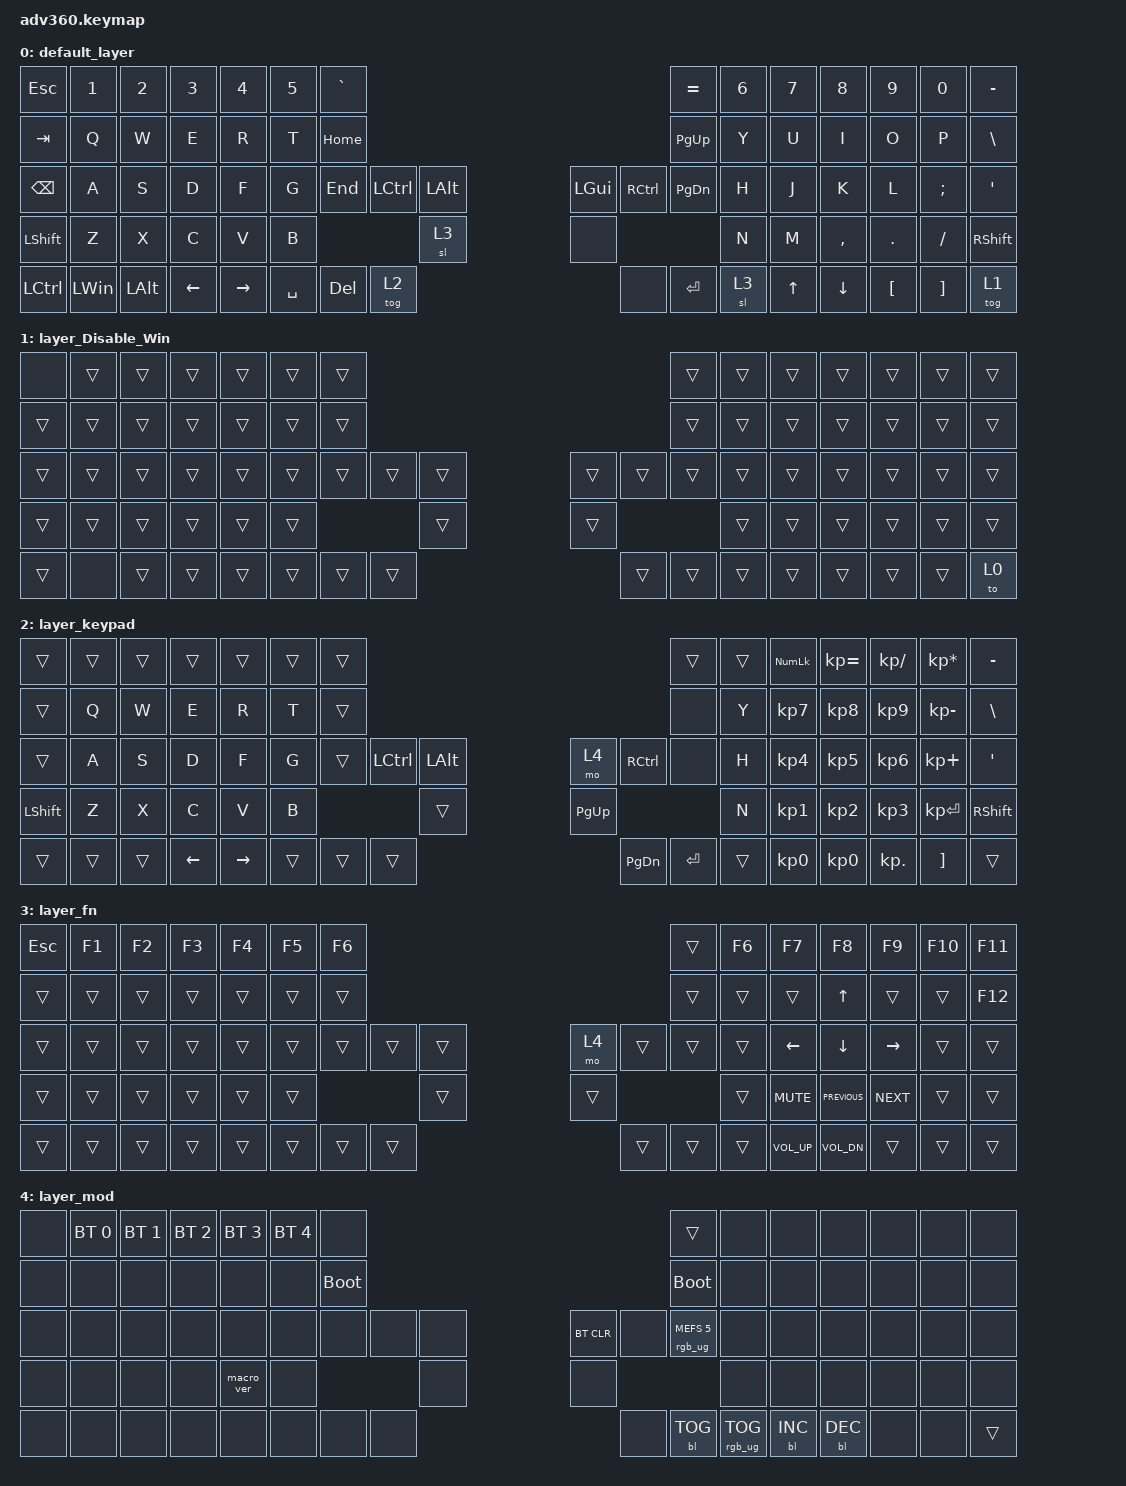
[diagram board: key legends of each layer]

/*
 * Copyright (c) 2020 The ZMK Contributors
 *
 * SPDX-License-Identifier: MIT
 */


/* THIS FILE WAS GENERATED!
 *
 * This file was generated automatically. You may or may not want to
 * edit it directly.
 */

#include <behaviors.dtsi>
#include <dt-bindings/zmk/keys.h>
#include <dt-bindings/zmk/bt.h>
#include <dt-bindings/zmk/rgb.h>
#include <dt-bindings/zmk/backlight.h>

/ {
  behaviors {
    #include "macros.dtsi"
    #include "version.dtsi"

    hm: homerow_mods {
        compatible = "zmk,behavior-hold-tap";
        label = "HOMEROW_MODS";
        #binding-cells = <2>;
        tapping-term-ms = <200>;
        quick_tap_ms = <175>;
        flavor = "tap-preferred";
        bindings = <&kp>, <&kp>;
    };
  };

    keymap {
        compatible = "zmk,keymap";


        default_layer {
            bindings = <
       &kp ESCAPE        &kp N1        &kp N2    &kp N3     &kp N4  &kp N5            &kp GRAVE                                                               &kp EQUAL  &kp N6  &kp N7     &kp N8    &kp N9    &kp N0  &kp MINUS
          &kp TAB         &kp Q         &kp W     &kp E      &kp R   &kp T             &kp HOME                                                             &kp PAGE_UP   &kp Y   &kp U      &kp I     &kp O     &kp P   &kp BSLH
    &kp BACKSPACE         &kp A         &kp S     &kp D      &kp F   &kp G              &kp END   &kp LCTRL  &kp LALT                  &kp LGUI  &kp RCTRL    &kp PG_DN   &kp H   &kp J      &kp K     &kp L  &kp SEMI    &kp SQT
        &kp LSHFT         &kp Z         &kp X     &kp C      &kp V   &kp B                                      &sl 3                     &none                           &kp N   &kp M  &kp COMMA   &kp DOT  &kp FSLH  &kp RSHFT
 &kp LEFT_CONTROL  &kp LEFT_WIN  &kp LEFT_ALT  &kp LEFT  &kp RIGHT                    &kp SPACE  &kp DELETE    &tog 2                     &none  &kp ENTER        &sl 3          &kp UP   &kp DOWN  &kp LBKT  &kp RBKT     &tog 1
            >;
        };

        layer_Disable_Win {
            bindings = <
  &none  &trans  &trans  &trans  &trans  &trans            &trans                                                  &trans  &trans  &trans  &trans  &trans  &trans  &trans
 &trans  &trans  &trans  &trans  &trans  &trans            &trans                                                  &trans  &trans  &trans  &trans  &trans  &trans  &trans
 &trans  &trans  &trans  &trans  &trans  &trans            &trans  &trans  &trans                  &trans  &trans  &trans  &trans  &trans  &trans  &trans  &trans  &trans
 &trans  &trans  &trans  &trans  &trans  &trans                            &trans                  &trans                  &trans  &trans  &trans  &trans  &trans  &trans
 &trans   &none  &trans  &trans  &trans                    &trans  &trans  &trans                  &trans  &trans  &trans          &trans  &trans  &trans  &trans   &to 0
            >;
        };

        layer_keypad {
            bindings = <
    &trans  &trans  &trans    &trans     &trans  &trans            &trans                                                             &trans  &trans       &kp KP_NUM  &kp KP_EQUAL  &kp KP_DIVIDE  &kp KP_MULTIPLY  &kp MINUS
    &trans   &kp Q   &kp W     &kp E      &kp R   &kp T            &trans                                                              &none   &kp Y        &kp KP_N7     &kp KP_N8      &kp KP_N9     &kp KP_MINUS   &kp BSLH
    &trans   &kp A   &kp S     &kp D      &kp F   &kp G            &trans  &kp LCTRL  &kp LALT                      &mo 4  &kp RCTRL   &none   &kp H        &kp KP_N4     &kp KP_N5      &kp KP_N6      &kp KP_PLUS    &kp SQT
 &kp LSHFT   &kp Z   &kp X     &kp C      &kp V   &kp B                                 &trans                  &kp PG_UP                      &kp N        &kp KP_N1     &kp KP_N2      &kp KP_N3     &kp KP_ENTER  &kp RSHFT
    &trans  &trans  &trans  &kp LEFT  &kp RIGHT                    &trans     &trans    &trans                  &kp PG_DN  &kp ENTER  &trans          &kp KP_NUMBER_0     &kp KP_N0     &kp KP_DOT         &kp RBKT     &trans
            >;
        };

        layer_fn {
            bindings = <
 &kp ESCAPE  &kp F1  &kp F2  &kp F3  &kp F4  &kp F5            &kp F6                                                  &trans  &kp F6        &kp F7          &kp F8      &kp F9  &kp F10  &kp F11
     &trans  &trans  &trans  &trans  &trans  &trans            &trans                                                  &trans  &trans        &trans    &kp UP_ARROW      &trans   &trans  &kp F12
     &trans  &trans  &trans  &trans  &trans  &trans            &trans  &trans  &trans                   &mo 4  &trans  &trans  &trans      &kp LEFT        &kp DOWN   &kp RIGHT   &trans   &trans
     &trans  &trans  &trans  &trans  &trans  &trans                            &trans                  &trans                  &trans    &kp C_MUTE  &kp C_PREVIOUS  &kp C_NEXT   &trans   &trans
     &trans  &trans  &trans  &trans  &trans                    &trans  &trans  &trans                  &trans  &trans  &trans          &kp C_VOL_UP    &kp C_VOL_DN      &trans   &trans   &trans
            >;
        };

        layer_mod {
            bindings = <
  &none  &bt BT_SEL 0  &bt BT_SEL 1  &bt BT_SEL 2  &bt BT_SEL 3  &bt BT_SEL 4                  &none                                                                          &trans   &none       &none       &none   &none   &none   &none
  &none         &none         &none         &none         &none         &none            &bootloader                                                                     &bootloader   &none       &none       &none   &none   &none   &none
  &none         &none         &none         &none         &none         &none                  &none   &none   &none                  &bt BT_CLR       &none  &rgb_ug RGB_MEFS_CMD 5   &none       &none       &none   &none   &none   &none
  &none         &none         &none         &none    &macro_ver         &none                                  &none                       &none                                       &none       &none       &none   &none   &none   &none
  &none         &none         &none         &none         &none                                &none   &none   &none                       &none  &bl BL_TOG         &rgb_ug RGB_TOG          &bl BL_INC  &bl BL_DEC   &none   &none  &trans
            >;
        };

    };
};
